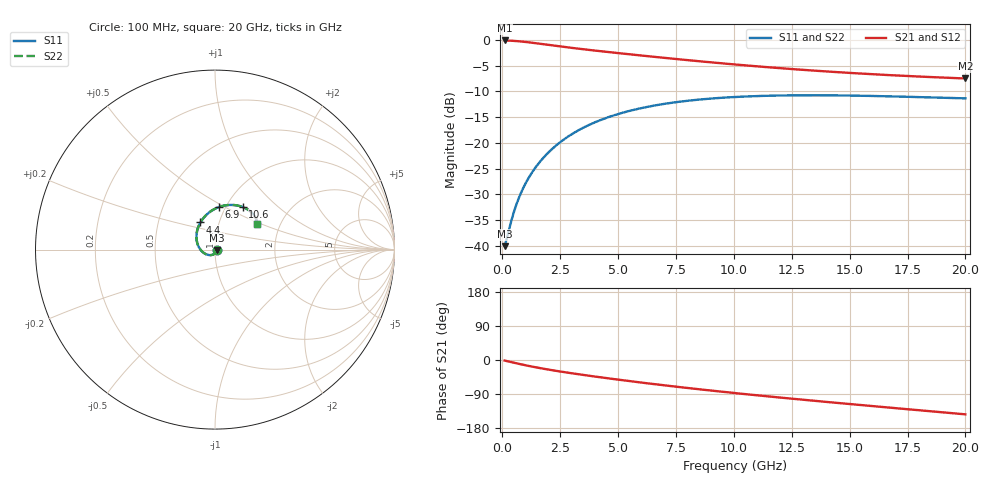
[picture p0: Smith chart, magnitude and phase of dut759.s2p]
! Touchstone file exported from HFSS 2024.1.0
!  File:  C:/UserFiles/LocalFiles/RDL_TSV_Batchsim/temp_RDL_TSV_759_1779899917.aedt
!  Generated:  12:52:59 AM May 28, 2026
!  Design:  RDL_TSV
!  Project:  temp_RDL_TSV_759_1779899917
!  Setup:  Setup1
!  Solution:  Sweep
! Variables:
!  dtsv = 12.16um
!  hbump = 3um
!  htsv = 90.23um
!  ldown = 380.72um
!  lrdl = 104.9um
!  p = 40
!  p1 = 47.54um
!  rhole = 10um
!  subl = 1561.76um
!  t = 450um
!  tdown = 4.75um
!  trdl = 4.74um
!  viad = 10um
!  wdown = 15.72um
!  wrdl = 10.02um
!  xbump = 18um
# GHz S MA R 50.000000
! Terminal data exported
! Port[1] = TM1_1_T1
! Port[2] = TM1_4_T1
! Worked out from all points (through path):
!   200 points, 100 MHz to 20 GHz, reference 50 ohm
!   highest |S21| = -0.08 dB at 100 MHz (marker M1); lowest = -7.5 dB at 20 GHz (marker M2)
!   group delay of S21, straight-line fit = 18.6 ps
!   lowest |S11| = -40.1 dB at 100 MHz (marker M3), VSWR 1.02, Z = 50.9 - j0.454 ohm
!   |S11| at or under -10 dB: start of sweep to end of sweep
!   |S22| runs from -40.1 to -10.7 dB; largest |S21 - S12| = 1.6e-14
!   S11 on the Smith chart (normalised r, x): 100 MHz: 1.02, -0.01; 4.4 GHz: 0.81, +0.25; 6.9 GHz: 0.93, +0.47; 10.6 GHz: 1.19, +0.61; 20 GHz: 1.52, +0.46
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0.1  0.009885 -26.8  0.9904 -1.5  0.9904 -1.5  0.009884 -26.8
! Gamma 0 0 0 0
! Port Impedance 50 0 50 0
0.2  0.01185 -49.0  0.989 -2.9  0.989 -2.9  0.01185 -49.0
0.4  0.01777 -79.5  0.9843 -5.8  0.9843 -5.8  0.01776 -79.5
0.5  0.02121 -90.6  0.9811 -7.2  0.9811 -7.2  0.0212 -90.6
0.7  0.02853 -108.7  0.9731 -9.9  0.9731 -9.9  0.02853 -108.7
1  0.04012 -130.0  0.9581 -13.9  0.9581 -13.9  0.04012 -130.0
1.3  0.05214 -147.5  0.9406 -17.6  0.9406 -17.6  0.05215 -147.6
1.7  0.06853 -167.1  0.9156 -22.2  0.9156 -22.2  0.06855 -167.1
2.2  0.08916 173.0  0.8845 -27.4  0.8845 -27.4  0.08921 172.9
2.8  0.1135 153.8  0.8498 -33.2  0.8498 -33.2  0.1135 153.7
3.5  0.1404 136.0  0.8134 -39.4  0.8134 -39.4  0.1405 136.0
4.4  0.1718 118.1  0.7717 -47.0  0.7717 -47.0  0.172 118.1
5.5  0.2047 101.3  0.7261 -55.7  0.7261 -55.7  0.2049 101.3
6.8  0.2354 86.0  0.6777 -65.4  0.6777 -65.4  0.2357 86.0
6.9  0.2374 85.0  0.6741 -66.1  0.6741 -66.1  0.2377 85.0
8.5  0.2635 70.8  0.6219 -77.2  0.6219 -77.2  0.2638 70.8
10.1  0.2796 59.8  0.5769 -87.6  0.5769 -87.6  0.2799 59.8
10.6  0.2829 56.9  0.5642 -90.7  0.5642 -90.7  0.2832 56.9
12  0.2887 49.9  0.5323 -99.1  0.5323 -99.1  0.2891 49.9
13.4  0.2903 44.2  0.505 -107.2  0.505 -107.2  0.2907 44.2
16.7  0.2834 35.1  0.4559 -125.5  0.4559 -125.5  0.2837 35.1
20  0.2708 31.2  0.4226 -143.4  0.4226 -143.4  0.2712 31.2
